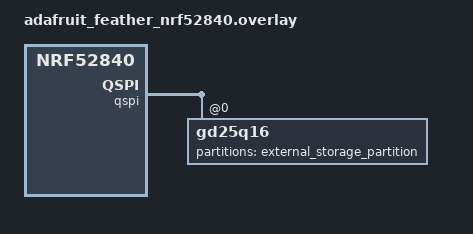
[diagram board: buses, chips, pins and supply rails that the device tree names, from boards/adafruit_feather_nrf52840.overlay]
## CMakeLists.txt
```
cmake_minimum_required(VERSION 3.20.0)
set(BOARD adafruit_feather_nrf52840) # added
find_package(Zephyr REQUIRED HINTS $ENV{ZEPHYR_BASE})

project(external_mem)

target_sources(app PRIVATE src/main.c)
```

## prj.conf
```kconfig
#CONFIG_NVS=y
CONFIG_FLASH=y
CONFIG_FLASH_PAGE_LAYOUT=y
CONFIG_FLASH_MAP=y
CONFIG_NORDIC_QSPI_NOR=y

#ONFIG_USB_DEVICE_STACK=y
#CONFIG_USB_DEVICE_PRODUCT="adafruitusb"

#CONFIG_USB_CDC_ACM=y
#CONFIG_UART_LINE_CTRL=y
#CONFIG_SERIAL=y
#CONFIG_MAIN_STACK_SIZE=2048

CONFIG_LOG=y
CONFIG_USE_SEGGER_RTT=y
CONFIG_LOG_BACKEND_UART=n
CONFIG_LOG_BACKEND_RTT=y

# Enable Logging
# CONFIG_LOG=y
# CONFIG_LOG_MODE_IMMEDIATE=y

# Set Flash and QSPI logging to Debug level
CONFIG_FLASH_LOG_LEVEL_DBG=y

# Direct logs to your USB console
#CONFIG_LOG_BACKEND_UART=y
```

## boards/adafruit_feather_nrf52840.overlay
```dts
&qspi {
    gd25q16: gd25q16@0 {
        /* Change this line specifically */
        jedec-id = [ c8 40 15 ]; 
        //jedec-id = [ ef 40 15 ];
        /* The rest can stay the same, but ensure read-only is gone */
        partitions {
            compatible = "fixed-partitions";
            #address-cells = <1>;
            #size-cells = <1>;
            external_storage_partition: partition@0 {
                label = "external_storage_partition";
                reg = <0x00000000 0x00200000>;
            };
        };
    };
};
```

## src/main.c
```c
#include <zephyr/kernel.h>
#include <zephyr/storage/flash_map.h>
#include <zephyr/fs/nvs.h>
#include <zephyr/sys/printk.h>
#include <zephyr/usb/usb_device.h>
#include <zephyr/logging/log.h>

#include <zephyr/drivers/flash.h>

LOG_MODULE_REGISTER(main);

// external flash partitions
//#define NVS_PARTITION		 external_storage_partition 
//#define NVS_PARTITION_DEVICE	 FIXED_PARTITION_DEVICE(NVS_PARTITION)
//#define NVS_PARTITION_OFFSET	 FIXED_PARTITION_OFFSET(NVS_PARTITION) 

/* Get the node identifier for the partition label in your overlay */
#define FLASH_PARTITION_NODE DT_NODELABEL(external_storage_partition)

/* Use the DT_FLASH_AREA macros to get the device and offset */
#define FLASH_DEVICE DEVICE_DT_GET(DT_MTD_FROM_FIXED_PARTITION(FLASH_PARTITION_NODE))
#define FLASH_PARTITION_OFFSET DT_REG_ADDR(FLASH_PARTITION_NODE)
#define FLASH_BASE_OFFSET DT_REG_ADDR(FLASH_PARTITION_NODE)

// id for nvs (each data == id) 
#define FLASH_TOTAL_SIZE  (512 * 4096)

static uint32_t current_write_offset = 0;

// static struct nvs_fs fs = {
// 	.flash_device = NVS_PARTITION_DEVICE,
// 	.offset = NVS_PARTITION_OFFSET,
//         .sector_size = 4096, 
//         .sector_count = 512,
// };

int main(void) {
        int err; 

        if (!device_is_ready(FLASH_DEVICE)) {
                LOG_INF("Flash device is not ready\n");
                return 0;
        }

        LOG_INF("Erasing flash for experiment...");
        err = flash_erase(FLASH_DEVICE, FLASH_BASE_OFFSET, FLASH_TOTAL_SIZE);
        if (err) {
                LOG_ERR("Flash erase failed: %d", err);
                return 0;
        }

        // array to be stored 
        int arr[5] = {85, 92, 78, 95, 88};
        
        // write the array 
        err = flash_write(FLASH_DEVICE, FLASH_BASE_OFFSET + current_write_offset, arr, sizeof(arr)); 
        if (err < 0) {
                LOG_ERR("flash_write failed");
        }
        current_write_offset = current_write_offset + sizeof(arr);  
        
        int read_buf[5]; 
        /// read the array
        err = flash_read(FLASH_DEVICE, FLASH_BASE_OFFSET, read_buf, sizeof(read_buf)); 
        if (err < 0) {
                LOG_ERR("flash_read failed"); 
        } else {
                LOG_INF("read data1: %d %d %d %d %d", arr[0], arr[1], arr[2],  arr[3], arr[4]); 
        }

        // modify the array
        arr[0] = 20;

        // write the array 
        err = flash_write(FLASH_DEVICE, FLASH_BASE_OFFSET + current_write_offset, arr, sizeof(arr)); 
        if (err < 0) {
                LOG_ERR("flash_write failed");
        }
        uint32_t prev_offset = current_write_offset; 
        current_write_offset = current_write_offset + sizeof(arr);

        /// read the array
        err = flash_read(FLASH_DEVICE, FLASH_BASE_OFFSET + prev_offset, read_buf, sizeof(read_buf)); 
        if (err < 0) {
                LOG_ERR("flash_read failed");
        } else {
                LOG_INF("modified read data2: %d %d %d %d %d", arr[0], arr[1], arr[2],  arr[3], arr[4]); 
        }

        return 0; 

}
```

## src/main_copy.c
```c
#include <zephyr/kernel.h>
#include <zephyr/storage/flash_map.h>
#include <zephyr/fs/nvs.h>
#include <zephyr/sys/printk.h>
#include <zephyr/usb/usb_device.h>
#include <zephyr/logging/log.h>

LOG_MODULE_REGISTER(main);

// external flash partitions
//#define NVS_PARTITION		 external_storage_partition 
//#define NVS_PARTITION_DEVICE	 FIXED_PARTITION_DEVICE(NVS_PARTITION)
//#define NVS_PARTITION_OFFSET	 FIXED_PARTITION_OFFSET(NVS_PARTITION) 

/* Get the node identifier for the partition label in your overlay */
#define NVS_PARTITION_NODE DT_NODELABEL(external_storage_partition)

/* Use the DT_FLASH_AREA macros to get the device and offset */
#define NVS_PARTITION_DEVICE DEVICE_DT_GET(DT_MTD_FROM_FIXED_PARTITION(NVS_PARTITION_NODE))
#define NVS_PARTITION_OFFSET DT_REG_ADDR(NVS_PARTITION_NODE)

// id for nvs (each data == id) 
#define FS_ID 1

static struct nvs_fs fs = {
	.flash_device = NVS_PARTITION_DEVICE,
	.offset = NVS_PARTITION_OFFSET,
        .sector_size = 4096, 
        .sector_count = 512,
};

int main(void) {
        int err; 

        if (!device_is_ready(fs.flash_device)) {
                LOG_INF("Flash device %s is not ready\n", fs.flash_device->name);
                return 0;
        }

        err = nvs_mount(&fs); 
        if (err) {
                LOG_ERR("nvs mount failed"); 
                return 0; 
        }

        // array to be stored 
        int arr[5] = {85, 92, 78, 95, 88};
        
        // write the array 
        err = nvs_write(&fs, FS_ID, arr, sizeof(arr)); 
        if (err < 0) {
                LOG_ERR("nvs_write failed");
        } 
        
        int read_buf[5]; 
        /// read the array
        err = nvs_read(&fs, FS_ID, read_buf, sizeof(read_buf)); 
        if (err < 0) {
                LOG_ERR("nvs_read failed"); 
        } else {
                LOG_INF("read data1: %d %d %d %d %d", arr[0], arr[1], arr[2],  arr[3], arr[4]); 
        }

        // modify the array
        arr[0] = 20;

        // write the array 
        err = nvs_write(&fs, FS_ID, arr, sizeof(arr)); 
        if (err < 0) {
                LOG_ERR("nvs_write failed");
        }

        /// read the array
        err = nvs_read(&fs, FS_ID, read_buf, sizeof(read_buf)); 
        if (err < 0) {
                LOG_ERR("nvs_read failed");
        } else {
                LOG_INF("modified read data2: %d %d %d %d %d", arr[0], arr[1], arr[2],  arr[3], arr[4]); 
        }

        return 0; 

}
```
